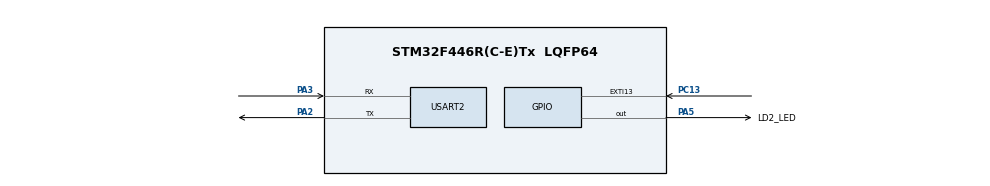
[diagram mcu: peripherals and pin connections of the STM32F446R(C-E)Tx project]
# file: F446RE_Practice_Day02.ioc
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Mcu.Family=STM32F4
Mcu.Name=STM32F446R(C-E)Tx
Mcu.Package=LQFP64
NVIC.EXTI15_10_IRQn=true\:0\:0\:false\:false\:true\:true\:true\:true
NVIC.PriorityGroup=NVIC_PRIORITYGROUP_4
NVIC.TIM2_IRQn=true\:0\:0\:false\:false\:true\:true\:true\:true
PA13.Mode=Serial_Wire
PA13.Signal=SYS_JTMS-SWDIO
PA14.Mode=Serial_Wire
PA14.Signal=SYS_JTCK-SWCLK
PA2.Mode=Asynchronous
PA2.Signal=USART2_TX
PA3.Mode=Asynchronous
PA3.Signal=USART2_RX
PA5.GPIO_Label=LD2_LED
PA5.Signal=GPIO_Output
PC13.GPIO_ModeDefaultEXTI=GPIO_MODE_IT_FALLING
PC13.Signal=GPXTI13
ProjectManager.HeapSize=0x200
ProjectManager.StackSize=0x400
ProjectManager.TargetToolchain=STM32CubeIDE
RCC.CortexFreq_Value=16000000
RCC.USBFreq_Value=96000000
RCC.VCOOutputFreq_Value=192000000
TIM2.Period=99
TIM2.Prescaler=8999
USART2.VirtualMode=VM_ASYNC
VP_TIM2_VS_ClockSourceINT.Mode=Internal
board=custom

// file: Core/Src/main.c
/* USER CODE BEGIN Header */
/**
  ******************************************************************************
  * @file           : main.c
  * @brief          : Main program body
  ******************************************************************************
  * @attention
  *
  * Copyright (c) 2026 STMicroelectronics.
  * All rights reserved.
  *
  * This software is licensed under terms that can be found in the LICENSE file
  * in the root directory of this software component.
  * If no LICENSE file comes with this software, it is provided AS-IS.
  *
  ******************************************************************************
  */
/* USER CODE END Header */
#include "main.h"

TIM_HandleTypeDef htim2;

UART_HandleTypeDef huart2;

/* USER CODE BEGIN PV */

volatile uint32_t g_tick_10ms = 0;
uint32_t g_seconds = 0;

/* USER CODE END PV */

void SystemClock_Config(void);
static void MX_GPIO_Init(void);
static void MX_TIM2_Init(void);
static void MX_USART2_UART_Init(void);

int main(void)
{

  /* MCU Configuration--------------------------------------------------------*/

  /* Reset of all peripherals, Initializes the Flash interface and the Systick. */
  HAL_Init();

  /* Configure the system clock */
  SystemClock_Config();

  /* Initialize all configured peripherals */
  MX_GPIO_Init();
  MX_TIM2_Init();
  MX_USART2_UART_Init();
  /* USER CODE BEGIN 2 */

  HAL_TIM_Base_Start_IT(&htim2);

  uint32_t led_deadline = 50;
  uint32_t second_deadline = 100;

  /* USER CODE END 2 */

  /* Infinite loop */
  while (1)
  {

    /* USER CODE BEGIN 3 */

	  uint32_t now = g_tick_10ms;

	  /* 每 500 ms 切換 LED */
	  if ((int32_t)(now - led_deadline) >= 0)
	  {
		  led_deadline += 50;

		  HAL_GPIO_TogglePin(GPIOA, GPIO_PIN_5);
	  }

	  /* 每 1 秒更新一次秒數 */
	  if ((int32_t)(now - second_deadline) >= 0)
	  {
		  second_deadline += 100;

		  g_seconds++;
	  }

  }
  /* USER CODE END 3 */
}

void SystemClock_Config(void)
{
  RCC_OscInitTypeDef RCC_OscInitStruct = {0};
  RCC_ClkInitTypeDef RCC_ClkInitStruct = {0};

  /** Configure the main internal regulator output voltage
  */
  __HAL_RCC_PWR_CLK_ENABLE();
  __HAL_PWR_VOLTAGESCALING_CONFIG(PWR_REGULATOR_VOLTAGE_SCALE3);

  /** Initializes the RCC Oscillators according to the specified parameters
  * in the RCC_OscInitTypeDef structure.
  */
  RCC_OscInitStruct.OscillatorType = RCC_OSCILLATORTYPE_HSI;
  RCC_OscInitStruct.HSIState = RCC_HSI_ON;
  RCC_OscInitStruct.HSICalibrationValue = RCC_HSICALIBRATION_DEFAULT;
  RCC_OscInitStruct.PLL.PLLState = RCC_PLL_NONE;
  if (HAL_RCC_OscConfig(&RCC_OscInitStruct) != HAL_OK)
  {
    Error_Handler();
  }

  /** Initializes the CPU, AHB and APB buses clocks
  */
  RCC_ClkInitStruct.ClockType = RCC_CLOCKTYPE_HCLK|RCC_CLOCKTYPE_SYSCLK
                              |RCC_CLOCKTYPE_PCLK1|RCC_CLOCKTYPE_PCLK2;
  RCC_ClkInitStruct.SYSCLKSource = RCC_SYSCLKSOURCE_HSI;
  RCC_ClkInitStruct.AHBCLKDivider = RCC_SYSCLK_DIV1;
  RCC_ClkInitStruct.APB1CLKDivider = RCC_HCLK_DIV1;
  RCC_ClkInitStruct.APB2CLKDivider = RCC_HCLK_DIV1;

  if (HAL_RCC_ClockConfig(&RCC_ClkInitStruct, FLASH_LATENCY_0) != HAL_OK)
  {
    Error_Handler();
  }
}

static void MX_TIM2_Init(void)
{

  TIM_ClockConfigTypeDef sClockSourceConfig = {0};
  TIM_MasterConfigTypeDef sMasterConfig = {0};

  htim2.Instance = TIM2;
  htim2.Init.Prescaler = 8999;
  htim2.Init.CounterMode = TIM_COUNTERMODE_UP;
  htim2.Init.Period = 99;
  htim2.Init.ClockDivision = TIM_CLOCKDIVISION_DIV1;
  htim2.Init.AutoReloadPreload = TIM_AUTORELOAD_PRELOAD_DISABLE;
  if (HAL_TIM_Base_Init(&htim2) != HAL_OK)
  {
    Error_Handler();
  }
  sClockSourceConfig.ClockSource = TIM_CLOCKSOURCE_INTERNAL;
  if (HAL_TIM_ConfigClockSource(&htim2, &sClockSourceConfig) != HAL_OK)
  {
    Error_Handler();
  }
  sMasterConfig.MasterOutputTrigger = TIM_TRGO_RESET;
  sMasterConfig.MasterSlaveMode = TIM_MASTERSLAVEMODE_DISABLE;
  if (HAL_TIMEx_MasterConfigSynchronization(&htim2, &sMasterConfig) != HAL_OK)
  {
    Error_Handler();
  }

}

static void MX_USART2_UART_Init(void)
{

  huart2.Instance = USART2;
  huart2.Init.BaudRate = 115200;
  huart2.Init.WordLength = UART_WORDLENGTH_8B;
  huart2.Init.StopBits = UART_STOPBITS_1;
  huart2.Init.Parity = UART_PARITY_NONE;
  huart2.Init.Mode = UART_MODE_TX_RX;
  huart2.Init.HwFlowCtl = UART_HWCONTROL_NONE;
  huart2.Init.OverSampling = UART_OVERSAMPLING_16;
  if (HAL_UART_Init(&huart2) != HAL_OK)
  {
    Error_Handler();
  }

}

static void MX_GPIO_Init(void)
{
  GPIO_InitTypeDef GPIO_InitStruct = {0};

  /* GPIO Ports Clock Enable */
  __HAL_RCC_GPIOC_CLK_ENABLE();
  __HAL_RCC_GPIOA_CLK_ENABLE();

  /*Configure GPIO pin Output Level */
  HAL_GPIO_WritePin(LD2_LED_GPIO_Port, LD2_LED_Pin, GPIO_PIN_RESET);

  /*Configure GPIO pin : PC13 */
  GPIO_InitStruct.Pin = GPIO_PIN_13;
  GPIO_InitStruct.Mode = GPIO_MODE_IT_FALLING;
  GPIO_InitStruct.Pull = GPIO_NOPULL;
  HAL_GPIO_Init(GPIOC, &GPIO_InitStruct);

  /*Configure GPIO pin : LD2_LED_Pin */
  GPIO_InitStruct.Pin = LD2_LED_Pin;
  GPIO_InitStruct.Mode = GPIO_MODE_OUTPUT_PP;
  GPIO_InitStruct.Pull = GPIO_NOPULL;
  GPIO_InitStruct.Speed = GPIO_SPEED_FREQ_LOW;
  HAL_GPIO_Init(LD2_LED_GPIO_Port, &GPIO_InitStruct);

  /* EXTI interrupt init*/
  HAL_NVIC_SetPriority(EXTI15_10_IRQn, 0, 0);
  HAL_NVIC_EnableIRQ(EXTI15_10_IRQn);

}

/* USER CODE BEGIN 4 */

void HAL_TIM_PeriodElapsedCallback(TIM_HandleTypeDef *htim)
{
    if (htim->Instance == TIM2)
    {
        g_tick_10ms++;
    }
}

/* USER CODE END 4 */

void Error_Handler(void)
{
  __disable_irq();
  while (1)
  {
  }
}
